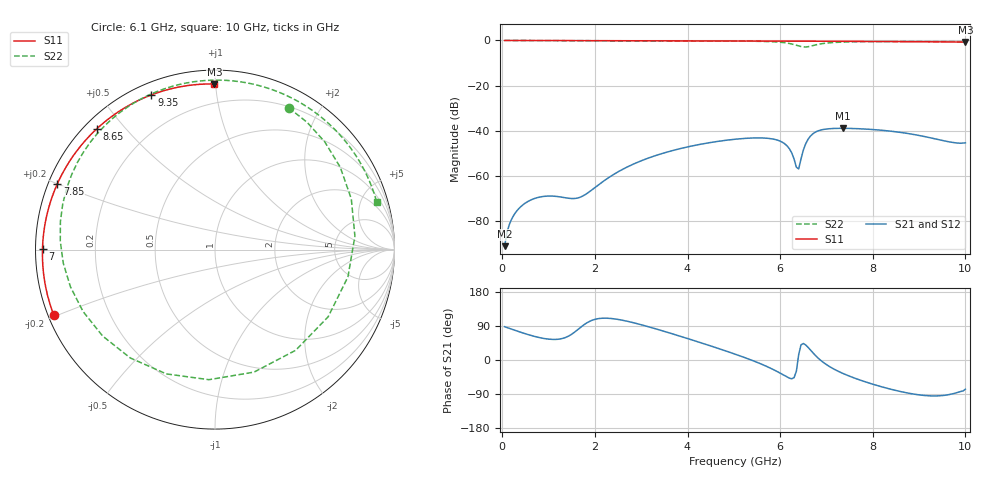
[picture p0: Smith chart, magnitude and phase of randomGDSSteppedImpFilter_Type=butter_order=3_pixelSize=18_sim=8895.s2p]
! freq	dB(S11)	phase(S11)	dB(S12)	phase(S12)
!  dB(S21)	phase(S21)	dB(S22)	phase(S22)
!S-par simulation data
#  GHz  S  DB  R 50
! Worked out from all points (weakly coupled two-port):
!   200 points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, 50 MHz to 10 GHz, reference 50 ohm
!   highest |S21| = -38.89 dB at 7.35 GHz (marker M1); lowest = -91.1 dB at 50 MHz (marker M2)
!   lowest |S11| = -0.7 dB at 10 GHz (marker M3), VSWR 24.79, Z = 4.02 + j49.7 ohm
!   |S11| at or under -10 dB: nowhere
!   |S22| runs from -2.9 to 0.0 dB; largest |S21 - S12| = 0
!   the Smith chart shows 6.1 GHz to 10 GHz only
!   S11 on the Smith chart (normalised r, x): 6.1 GHz: 0.02, -0.19; 7 GHz: 0.02, +0.00; 7.85 GHz: 0.03, +0.20; 8.65 GHz: 0.04, +0.42; 9.35 GHz: 0.05, +0.67; 10 GHz: 0.08, +0.99
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0.05  -0.00 -1.5  -91.05 87.9  -91.05 87.9  -0.00 -3.0
0.7  -0.03 -20.1  -69.93 62.1  -69.93 62.1  -0.05 -40.3
1.2  -0.04 -34.3  -69.10 54.7  -69.10 54.7  -0.08 -67.1
1.75  -0.06 -49.5  -68.72 91.8  -68.72 91.8  -0.10 -93.7
2.6  -0.09 -72.2  -57.02 104.8  -57.02 104.8  -0.13 -129.4
3.4  -0.12 -92.7  -50.37 79.1  -50.37 79.1  -0.16 -158.9
4.25  -0.16 -113.7  -46.07 47.0  -46.07 47.0  -0.20 171.1
5.05  -0.20 -132.9  -43.67 14.4  -43.67 14.4  -0.27 140.2
5.65  -0.24 -147.2  -43.19 -13.7  -43.19 -13.7  -0.44 108.2
6.1  -0.27 -158.1  -45.76 -41.7  -45.76 -41.7  -1.01 62.5
6.25  -0.28 -161.7  -49.77 -49.5  -49.77 -49.5  -1.56 33.3
6.4  -0.29 -165.4  -56.87 14.0  -56.87 14.0  -2.43 -11.6
6.55  -0.31 -169.1  -45.80 39.9  -45.80 39.9  -2.90 -72.3
6.7  -0.32 -172.8  -41.42 20.0  -41.42 20.0  -2.31 -128.0
6.85  -0.33 -176.5  -39.81 1.7  -39.81 1.7  -1.60 -165.6
7  -0.35 179.7  -39.19 -12.2  -39.19 -12.2  -1.16 169.7
7.35  -0.38 170.6  -38.89 -35.2  -38.89 -35.2  -0.71 135.1
7.85  -0.43 157.3  -39.23 -58.1  -39.23 -58.1  -0.54 105.1
8.35  -0.49 143.2  -40.07 -75.9  -40.07 -75.9  -0.49 81.8
8.65  -0.52 134.3  -40.84 -84.6  -40.84 -84.6  -0.48 69.2
9.35  -0.61 112.3  -43.56 -94.9  -43.56 -94.9  -0.49 41.1
10  -0.70 90.2  -45.31 -77.0  -45.31 -77.0  -0.55 16.2
